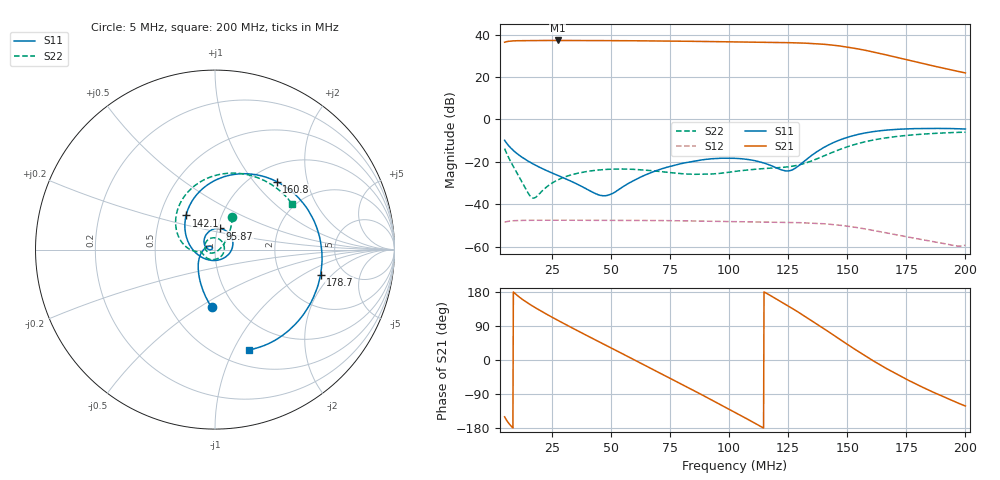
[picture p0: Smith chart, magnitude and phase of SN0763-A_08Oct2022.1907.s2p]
# Hz S DB R 50
! CMT, M5045, 22160017, 22.3.3/2
! Date: 10/8/2022 19:07:58
! Data: Format (Calibration Info)
! Freq	S11:dB/Ang(F2)	S21:dB/Ang(F2)	S12:dB/Ang(F2)	S22:dB/Ang(F2)
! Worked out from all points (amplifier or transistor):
!   1001 points, 5 MHz to 200 MHz, reference 50 ohm
!   highest |S21| = 37.2 dB at 27.43 MHz (marker M1)
!   |S21| within 3 dB of that: start of sweep to 149.4 MHz
!   unconditionally stable (mu >= 1): start of sweep to end of sweep
!   at 37.37 MHz: K = 1.80, MAG = 37.2 dB, |S12| = -47.6 dB
!   at 102.5 MHz: K = 2.04, MAG = 36.6 dB, |S12| = -48.3 dB
!   at 200 MHz: K = 18.53, MAG = 24.9 dB, |S12| = -59.3 dB
!   S11 on the Smith chart (normalised r, x): 5 MHz: 0.79, -0.56; 95.87 MHz: 1.03, +0.25; 142.1 MHz: 0.68, +0.27; 160.8 MHz: 1.29, +1.32; 178.7 MHz: 3.35, -1.48; 200 MHz: 0.67, -1.16
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5000000  -9.86 -93.5  36.37 -149.9  -48.53 -147.1  -13.80 61.7
8900000  -14.88 -118.8  37.01 178.4  -47.80 -178.8  -22.65 38.1
1.475e7  -19.57 -148.6  37.15 150.5  -47.62 153.1  -34.38 -12.1
2.7425e7  -26.41 162.9  37.20 105.0  -47.56 108.7  -28.60 -152.7
3.7565e7  -31.62 139.5  37.17 71.8  -47.57 76.8  -25.04 171.5
4.6535e7  -35.98 155.5  37.13 43.0  -47.59 49.2  -23.72 141.4
5.453e7  -32.18 -178.1  37.08 17.6  -47.63 24.9  -23.42 113.3
6.2135e7  -27.45 173.7  37.03 -6.7  -47.66 1.6  -23.74 84.8
7.013e7  -23.83 155.2  36.96 -32.3  -47.73 -23.0  -24.52 51.7
8.339e7  -20.06 117.3  36.81 -75.3  -47.90 -64.3  -25.86 -13.5
9.587e7  -18.36 76.9  36.61 -116.2  -48.13 -103.5  -25.50 -80.0
1.025e8  -18.39 53.7  36.50 -138.3  -48.25 -124.7  -24.53 -109.4
1.1069e8  -19.43 20.8  36.38 -166.0  -48.39 -151.5  -23.55 -139.9
1.1849e8  -22.13 -22.9  36.28 166.5  -48.50 -177.9  -22.96 -160.0
1.26095e8  -24.09 -104.0  36.14 138.5  -48.63 154.8  -22.22 -169.6
1.35065e8  -16.90 169.9  35.78 103.4  -48.93 120.6  -19.56 -174.0
1.42085e8  -12.07 130.3  35.20 74.6  -49.41 92.4  -16.32 176.6
1.5125e8  -8.07 87.3  33.87 36.4  -50.55 54.9  -12.50 154.3
1.60805e8  -5.82 47.8  31.81 -1.4  -52.31 17.6  -9.79 126.6
1.6763e8  -4.97 22.7  30.09 -26.1  -53.76 -6.8  -8.53 107.2
1.78745e8  -4.37 -13.4  27.16 -62.4  -56.13 -42.6  -7.23 78.2
2e8  -4.56 -71.2  21.88 -121.4  -59.35 -92.4  -6.04 30.4
